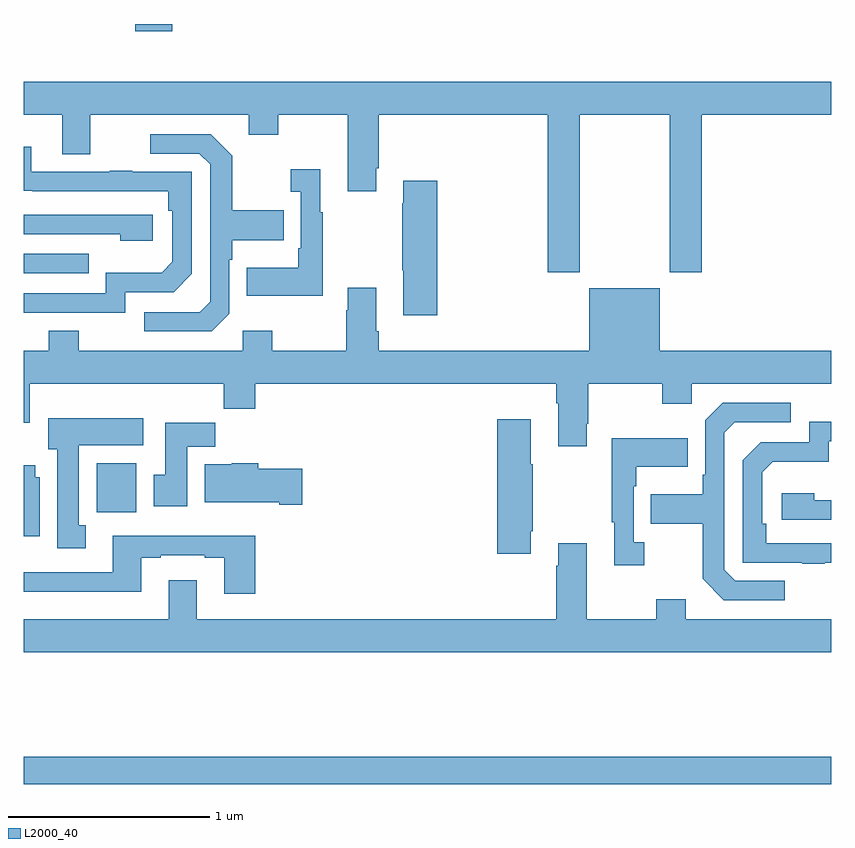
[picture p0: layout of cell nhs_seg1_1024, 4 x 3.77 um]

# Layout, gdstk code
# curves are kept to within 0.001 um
import gdstk
lib = gdstk.Library(unit=1e-6, precision=1e-09)
def R(c, l, rs):  # rectangles x0, y0, x1, y1
    for r in rs: c.add(gdstk.rectangle(r[:2], r[2:], *l))
def P(c, l, *ps):  # polygons
    for p in ps: c.add(gdstk.Polygon(p, *l))
L2000_40 = (2000, 40)

nhs_seg1_1024 = lib.new_cell('nhs_seg1_1024')
R(nhs_seg1_1024, L2000_40, [(167,532.432,171,532.568), (167.36,533.78,167.557,534.022), (167,534.963,167.321,535.059), (167.552,536.163,167.735,536.199)])
P(nhs_seg1_1024, L2000_40, [(169.755,535.748),(170.2,535.748),(170.2,534.969),(170.36,534.969),(170.36,535.748),(171,535.748),(171,535.912),(167,535.912),(167,535.748),(167.189,535.748),(167.189,535.554),(167.329,535.554),(167.329,535.748),(168.113,535.748),(168.113,535.649),(168.261,535.649),(168.261,535.748),(168.605,535.748),(168.605,535.371),(168.745,535.371),(168.745,535.483),(168.758,535.483),(168.758,535.748),(169.595,535.748),(169.595,534.969),(169.755,534.969)],
  [(168.018,534.762),(168.018,535.031),(168.031,535.031),(168.031,535.127),(168.287,535.127),(168.287,535.275),(168.031,535.275),(168.031,535.547),(167.925,535.653),(167.625,535.653),(167.625,535.557),(167.868,535.557),(167.922,535.503),(167.922,534.822),(167.871,534.771),(167.595,534.771),(167.595,534.675),(167.931,534.675)],
  [(167.502,534.87),(167.742,534.87),(167.832,534.96),(167.832,535.467),(167.537,535.467),(167.537,535.472),(167.425,535.472),(167.425,535.467),(167.035,535.467),(167.035,535.591),(167,535.591),(167,535.372),(167.716,535.371),(167.716,535.274),(167.736,535.274),(167.736,535.02),(167.683,534.967),(167.406,534.967),(167.406,534.864),(167,534.864),(167,534.768),(167.502,534.768)],
  [(168.481,535.267),(168.469,535.267),(168.469,535.48),(168.321,535.48),(168.321,535.367),(168.372,535.367),(168.372,535.087),(168.36,535.087),(168.36,534.991),(168.103,534.991),(168.103,534.851),(168.481,534.851)],
  [(169.049,535.423),(168.881,535.423),(168.881,535.31),(168.874,535.31),(168.874,534.979),(168.881,534.979),(168.881,534.756),(169.049,534.756)],
  [(167.638,535.254),(167,535.254),(167,535.158),(167.477,535.158),(167.477,535.124),(167.638,535.124)],
  [(169.789,534.217),(169.797,534.217),(169.797,534.416),(170.164,534.416),(170.164,534.317),(170.31,534.317),(170.31,534.416),(171,534.416),(171,534.58),(170.152,534.58),(170.152,534.889),(169.802,534.889),(169.802,534.58),(168.758,534.58),(168.758,534.676),(168.745,534.676),(168.745,534.892),(168.605,534.892),(168.605,534.779),(168.598,534.779),(168.598,534.58),(168.231,534.58),(168.231,534.679),(168.084,534.679),(168.084,534.58),(167.271,534.58),(167.271,534.679),(167.123,534.679),(167.123,534.58),(167,534.58),(167,534.222),(167.029,534.222),(167.029,534.416),(167.989,534.416),(167.989,534.292),(168.146,534.292),(168.146,534.416),(169.637,534.416),(169.637,534.32),(169.649,534.32),(169.649,534.105),(169.789,534.105)],
  [(170.77,533.439),(170.526,533.439),(170.472,533.493),(170.472,534.174),(170.523,534.225),(170.8,534.225),(170.8,534.321),(170.463,534.321),(170.376,534.234),(170.376,533.965),(170.364,533.965),(170.364,533.869),(170.107,533.869),(170.107,533.722),(170.364,533.722),(170.364,533.449),(170.469,533.343),(170.77,533.343)],
  [(167.305,533.714),(167.272,533.714),(167.272,534.11),(167.59,534.11),(167.59,534.244),(167.12,534.244),(167.12,534.09),(167.165,534.09),(167.165,533.601),(167.305,533.601)],
  [(169.513,533.686),(169.521,533.686),(169.521,534.017),(169.513,534.017),(169.513,534.241),(169.346,534.241),(169.346,533.574),(169.513,533.574)],
  [(170.969,533.529),(171,533.529),(171,533.625),(170.678,533.625),(170.678,533.722),(170.658,533.722),(170.658,533.976),(170.711,534.029),(170.988,534.029),(170.988,534.132),(171,534.132),(171,534.228),(170.892,534.228),(170.892,534.126),(170.652,534.126),(170.562,534.036),(170.562,533.529),(170.857,533.529),(170.857,533.524),(170.969,533.524)],
  [(167.809,534.104),(167.948,534.104),(167.948,534.223),(167.699,534.223),(167.699,533.964),(167.642,533.964),(167.642,533.808),(167.809,533.808)],
  [(170.074,533.63),(170.022,533.63),(170.022,533.909),(170.035,533.909),(170.035,534.005),(170.291,534.005),(170.291,534.145),(169.914,534.145),(169.914,533.729),(169.925,533.729),(169.925,533.517),(170.074,533.517)],
  [(168.379,533.994),(168.161,533.994),(168.161,534.022),(168.03,534.022),(168.03,534.016),(167.897,534.016),(167.897,533.828),(168.266,533.828),(168.266,533.816),(168.379,533.816)],
  [(167.077,533.952),(167.056,533.952),(167.056,534.013),(167,534.013),(167,533.66),(167.077,533.66)],
  [(171,533.838),(170.918,533.838),(170.918,533.872),(170.757,533.872),(170.757,533.742),(171,533.742)],
  [(168.146,533.662),(167.441,533.662),(167.441,533.481),(167,533.481),(167,533.384),(167.581,533.384),(167.581,533.553),(167.677,533.553),(167.677,533.565),(167.897,533.565),(167.897,533.553),(167.993,533.553),(167.993,533.376),(168.146,533.376)],
  [(171,533.248),(170.281,533.248),(170.281,533.347),(170.134,533.347),(170.134,533.248),(169.789,533.248),(169.789,533.626),(169.649,533.626),(169.649,533.513),(169.637,533.513),(169.637,533.248),(167.857,533.248),(167.857,533.443),(167.717,533.443),(167.717,533.248),(167,533.248),(167,533.084),(171,533.084)])

lib.write_gds('nhs_seg1_1024.gds')
